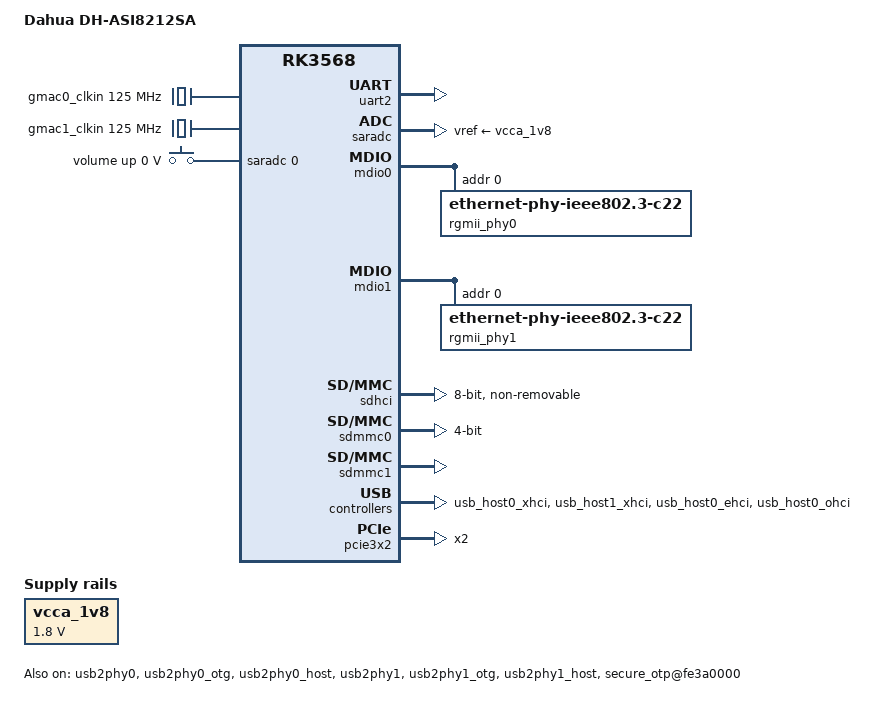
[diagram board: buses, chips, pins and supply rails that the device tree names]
// SPDX-License-Identifier: (GPL-2.0+ OR MIT)
/*
 * Dahua DH-ASI8212SA (RK3568 door-station board) — U-Boot DT
 *
 * Board data extracted from the factory U-Boot DTB (two copies at offset
 * 0x1c7e00/0x3c7e00 of the uboot partition; decompiled to
 * dh/flash_kit/uboot_config.dts). Factory values kept verbatim:
 *
 *   - eMMC on sdhci@fe310000: HS200, 8-bit, 200MHz max
 *   - SD  on sdmmc0@fe2b0000: 150MHz max, card-detect GPIO0_A4 pull-up
 *   - TF  on sdmmc1@fe2c0000: 150MHz max (stock: enabled, but never in the
 *     SPL boot order)
 *   - GMAC0 @fe2a0000: RGMII, clock_in_out=output, tx_delay=0x3c,
 *     rx_delay=0x2f, PHY reset GPIO2_D3 active-low   (stock: disabled)
 *   - GMAC1 @fe010000: RGMII M1 pins, tx_delay=0x4f, rx_delay=0x26,
 *     PHY reset GPIO2_D1 active-low                  (stock: disabled)
 *     -> the factory kernel DTB was never recovered, so both MACs stay
 *        disabled until the PHY wiring is confirmed on hardware
 *   - secure_otp@fe3a0000 OTP-fuse block (extracted verbatim):
 *       secure_conf   = 0xfdd18008  (PMU secure GRF + 0x8)
 *       mask_addr     = 0xfe880000  (efuse controller)
 *       cru_rst_addr  = 0xfdd20470  (CRU + 0x470, SOFTRST con)
 *   - Recovery/MASKROM key on SARADC ch0: pressed < 9uV (near ground)
 *   - PMIC sits on a private I2C bus in the factory firmware; no PMIC node
 *     here — rails come up at reset defaults set by the BootROM/loader.
 *
 * SoC base (CRU@fdd20000, PMUCRU@fdd00000, GRF/PMUGRF/USB2PHY-GRF,
 * IOMMUs, power domains, OPP tables) comes from rk3568.dtsi upstream.
 */

/dts-v1/;

#include <dt-bindings/input/input.h>
#include <dt-bindings/gpio/gpio.h>
#include "rk3568.dtsi"

/ {
	model = "Dahua DH-ASI8212SA";
	compatible = "dahua,dh-asi8212sa", "rockchip,rk3568";

	aliases {
		ethernet0 = &gmac0;
		ethernet1 = &gmac1;
		/* eMMC=mmc0, SD=mmc1 — matches BOOT_TARGETS "mmc1 mmc0" (SD scanned first) */
		mmc0 = &sdhci;
		mmc1 = &sdmmc0;
		serial2 = &uart2;
	};

	chosen {
		stdout-path = "serial2:1500000n8";
		/*
		 * TF(SD) boot priority: SPL looks for the FIT on the SD first
		 * and falls back to eMMC. Note the BootROM itself always tries
		 * eMMC before SD for idbloader, so with an eMMC-only install the
		 * chain still boots; with an Armbian SD inserted the SD wins.
		 */
		u-boot,spl-boot-order = &sdmmc0, &sdhci;
	};

	/* Factory DTB: external 125MHz clocks for both GMACs */
	gmac0_clkin: external-gmac0-clock {
		compatible = "fixed-clock";
		clock-frequency = <125000000>;
		clock-output-names = "gmac0_clkin";
		#clock-cells = <0>;
	};

	gmac1_clkin: external-gmac1-clock {
		compatible = "fixed-clock";
		clock-frequency = <125000000>;
		clock-output-names = "gmac1_clkin";
		#clock-cells = <0>;
	};

	vcca_1v8: regulator-vcca-1v8 {
		compatible = "regulator-fixed";
		regulator-name = "vcca_1v8";
		regulator-always-on;
		regulator-boot-on;
		regulator-min-microvolt = <1800000>;
		regulator-max-microvolt = <1800000>;
	};

	/* Recovery/MASKROM key on SARADC ch0 (factory: press < 9uV) */
	adc-keys {
		compatible = "adc-keys";
		io-channels = <&saradc 0>;
		io-channel-names = "buttons";
		keyup-threshold-microvolt = <1800000>;
		status = "okay";
		bootph-all;

		volumeup-key {
			label = "volume up";
			linux,code = <KEY_VOLUMEUP>;
			press-threshold-microvolt = <9>;
			bootph-all;
		};
	};
};

/* Debug console, 1.5MBaud (factory DTB: clock-frequency 24MHz) */
&uart2 {
	status = "okay";
	bootph-all;
};

&saradc {
	vref-supply = <&vcca_1v8>;
	status = "okay";
	bootph-all;
};

/*
 * GMAC0 — factory values (tx 0x3c / rx 0x2f, reset GPIO2_D3).
 * Kept disabled like the stock DTB until PHY wiring is confirmed.
 */
&gmac0 {
	phy-mode = "rgmii";
	clock_in_out = "output";
	assigned-clocks = <&cru SCLK_GMAC0_RX_TX>, <&cru SCLK_GMAC0>;
	assigned-clock-parents = <&cru SCLK_GMAC0_RGMII_SPEED>, <&gmac0_clkin>;
	snps,reset-gpio = <&gpio2 RK_PD3 GPIO_ACTIVE_LOW>;
	snps,reset-active-low;
	snps,reset-delays-us = <0 20000 100000>;
	tx_delay = <0x3c>;
	rx_delay = <0x2f>;
	phy-handle = <&rgmii_phy0>;
	status = "disabled";
};

&mdio0 {
	rgmii_phy0: ethernet-phy@0 {
		compatible = "ethernet-phy-ieee802.3-c22";
		reg = <0>;
	};
};

/*
 * GMAC1 — factory values (M1 pins, tx 0x4f / rx 0x26, reset GPIO2_D1).
 * Kept disabled like the stock DTB until PHY wiring is confirmed.
 */
&gmac1 {
	phy-mode = "rgmii";
	clock_in_out = "output";
	assigned-clocks = <&cru SCLK_GMAC1_RX_TX>, <&cru SCLK_GMAC1>;
	assigned-clock-parents = <&cru SCLK_GMAC1_RGMII_SPEED>, <&gmac1_clkin>;
	pinctrl-names = "default";
	pinctrl-0 = <&gmac1m1_miim
		     &gmac1m1_tx_bus2
		     &gmac1m1_rx_bus2
		     &gmac1m1_rgmii_clk
		     &gmac1m1_clkinout
		     &gmac1m1_rgmii_bus>;
	snps,reset-gpio = <&gpio2 RK_PD1 GPIO_ACTIVE_LOW>;
	snps,reset-active-low;
	snps,reset-delays-us = <0 20000 100000>;
	tx_delay = <0x4f>;
	rx_delay = <0x26>;
	phy-handle = <&rgmii_phy1>;
	status = "disabled";
};

&mdio1 {
	rgmii_phy1: ethernet-phy@0 {
		compatible = "ethernet-phy-ieee802.3-c22";
		reg = <0>;
	};
};

/* eMMC — HS200 8-bit, 200MHz max (factory values) */
&sdhci {
	bus-width = <8>;
	max-frequency = <200000000>;
	non-removable;
	mmc-hs200-1_8v;
	status = "okay";
	bootph-all;
};

/* SD card — 150MHz max (factory values) */
&sdmmc0 {
	max-frequency = <150000000>;
	bus-width = <4>;
	cap-mmc-highspeed;
	cap-sd-highspeed;
	disable-wp;
	status = "okay";
	bootph-all;
};

/* TF slot — factory DTB has it enabled */
&sdmmc1 {
	max-frequency = <150000000>;
	status = "okay";
};

/*
 * USB — factory DTB: OTG (fcc00000) + host (fd000000), single USB2 PHY,
 * both ports ok. Mainline-style nodes here (usb_host0_xhci = the DWC3 at
 * fcc00000, usb_host1_xhci = fd000000, EHCI/OHCI pairs on usb2phy1).
 */
&usb_host0_xhci {
	status = "okay";
};

&usb_host1_xhci {
	status = "okay";
};

&usb_host0_ehci {
	status = "okay";
};

&usb_host0_ohci {
	status = "okay";
};

&usb2phy0 {
	status = "okay";
};

&usb2phy0_otg {
	status = "okay";
};

&usb2phy0_host {
	status = "okay";
};

&usb2phy1 {
	status = "okay";
};

&usb2phy1_otg {
	status = "okay";
};

&usb2phy1_host {
	status = "okay";
};

/* PCIe3x2 — factory DTB: enabled, 2 lanes */
&pcie3x2 {
	num-lanes = <2>;
	status = "okay";
};

/*
 * OTP-fuse helper block — verbatim from the factory DTB. There is no
 * upstream driver for "rockchip,rk3568-secure-otp"; the node is kept for
 * fidelity and for future fuse-reading work.
 */
/ {
	secure_otp@fe3a0000 {
	compatible = "rockchip,rk3568-secure-otp";
	reg = <0x0 0xfe3a0000 0x0 0x4000>;
	secure_conf = <0xfdd18008>;
	mask_addr = <0xfe880000>;
		cru_rst_addr = <0xfdd20470>;
		status = "okay";
		bootph-pre-ram;
	};
};
